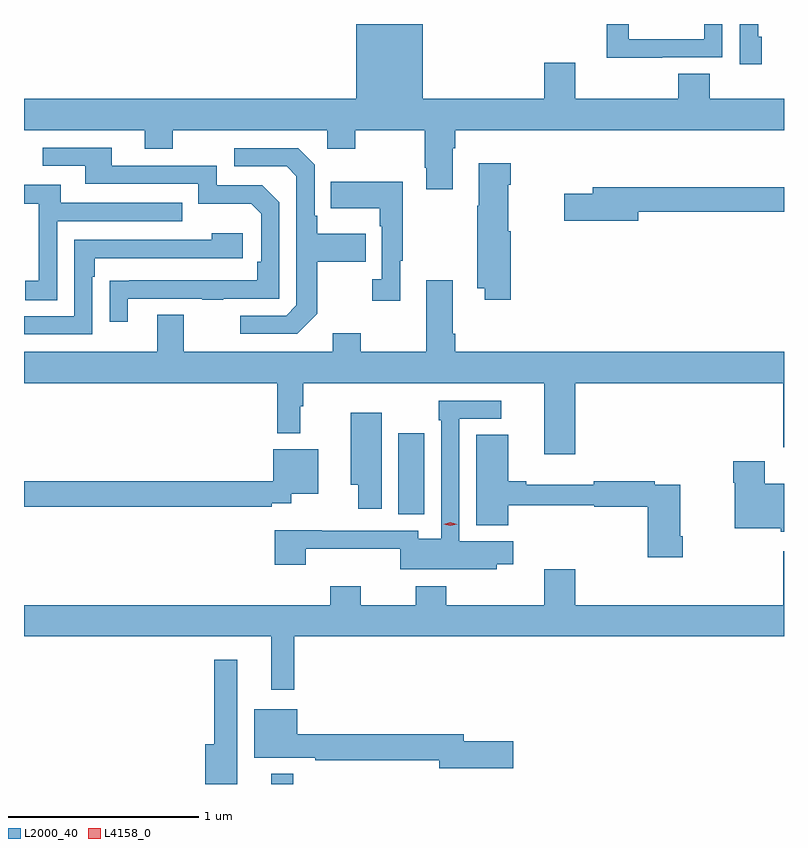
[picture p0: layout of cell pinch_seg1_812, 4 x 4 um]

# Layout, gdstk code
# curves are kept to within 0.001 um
import gdstk
lib = gdstk.Library(unit=1e-6, precision=1e-09)
def R(c, l, rs):  # rectangles x0, y0, x1, y1
    for r in rs: c.add(gdstk.rectangle(r[:2], r[2:], *l))
def P(c, l, *ps):  # polygons
    for p in ps: c.add(gdstk.Polygon(p, *l))
L2000_40 = (2000, 40)
L4158_0 = (4158, 0)

pinch_seg1_812 = lib.new_cell('pinch_seg1_812')
R(pinch_seg1_812, L2000_40, [(487.247,544.294,487.362,544.348), (487.916,545.713,488.053,546.139)])
P(pinch_seg1_812, L2000_40, [(488.203,547.64),(488.216,547.64),(488.216,547.736),(489.946,547.736),(489.946,547.9),(489.554,547.9),(489.554,548.033),(489.389,548.033),(489.389,547.9),(488.848,547.9),(488.848,548.089),(488.684,548.089),(488.684,547.9),(488.044,547.9),(488.044,548.294),(487.694,548.294),(487.694,547.9),(485.946,547.9),(485.946,547.736),(486.581,547.736),(486.581,547.637),(486.729,547.637),(486.729,547.736),(487.542,547.736),(487.542,547.637),(487.689,547.637),(487.689,547.736),(488.056,547.736),(488.056,547.537),(488.063,547.537),(488.063,547.425),(488.203,547.425)],
  [(489.305,548.118),(489.621,548.118),(489.621,548.294),(489.525,548.294),(489.525,548.214),(489.129,548.214),(489.129,548.294),(489.013,548.294),(489.013,548.117),(489.305,548.117)],
  [(489.829,548.226),(489.81,548.226),(489.81,548.294),(489.714,548.294),(489.714,548.082),(489.829,548.082)],
  [(486.493,546.849),(486.883,546.849),(486.883,546.844),(486.995,546.844),(486.995,546.849),(487.29,546.849),(487.29,547.356),(487.2,547.446),(486.96,547.446),(486.96,547.548),(486.409,547.548),(486.409,547.644),(486.045,547.644),(486.045,547.548),(486.269,547.548),(486.269,547.452),(486.864,547.452),(486.864,547.349),(487.141,547.349),(487.194,547.296),(487.194,547.042),(487.174,547.042),(487.174,546.945),(486.397,546.944),(486.397,546.726),(486.493,546.726)],
  [(487.489,546.769),(487.489,547.042),(487.745,547.042),(487.745,547.189),(487.489,547.189),(487.489,547.285),(487.476,547.285),(487.476,547.554),(487.389,547.641),(487.053,547.641),(487.053,547.545),(487.329,547.545),(487.38,547.494),(487.38,546.813),(487.326,546.759),(487.083,546.759),(487.083,546.663),(487.383,546.663)],
  [(488.507,547.202),(488.494,547.202),(488.494,547.448),(488.507,547.448),(488.507,547.561),(488.339,547.561),(488.339,547.337),(488.332,547.337),(488.332,546.902),(488.372,546.902),(488.372,546.843),(488.507,546.843)],
  [(487.927,547.049),(487.939,547.049),(487.939,547.465),(487.561,547.465),(487.561,547.325),(487.818,547.325),(487.818,547.229),(487.83,547.229),(487.83,546.95),(487.779,546.95),(487.779,546.837),(487.927,546.837)],
  [(486.12,547.257),(486.779,547.257),(486.779,547.353),(486.139,547.353),(486.139,547.447),(485.946,547.447),(485.946,547.347),(486.024,547.347),(486.024,546.942),(485.952,546.942),(485.952,546.841),(486.12,546.841)],
  [(489.178,547.306),(489.946,547.306),(489.946,547.435),(488.939,547.435),(488.939,547.401),(488.79,547.401),(488.79,547.259),(489.178,547.259)],
  [(486.306,546.965),(486.319,546.965),(486.319,547.062),(487.096,547.062),(487.096,547.192),(486.935,547.192),(486.935,547.158),(486.21,547.158),(486.21,546.756),(485.946,546.756),(485.946,546.66),(486.306,546.66)],
  [(488.848,546.404),(489.942,546.404),(489.942,546.067),(489.946,546.067),(489.946,546.568),(488.216,546.568),(488.216,546.664),(488.203,546.664),(488.203,546.946),(488.063,546.946),(488.063,546.568),(487.719,546.568),(487.719,546.667),(487.571,546.667),(487.571,546.568),(486.787,546.568),(486.787,546.763),(486.647,546.763),(486.647,546.568),(485.946,546.568),(485.946,546.404),(487.279,546.404),(487.279,546.141),(487.4,546.141),(487.4,546.281),(487.415,546.281),(487.415,546.404),(488.684,546.404),(488.684,546.03),(488.848,546.03)],
  [(488.433,545.45),(488.521,545.45),(488.521,545.572),(488.238,545.572),(488.238,546.216),(488.458,546.216),(488.458,546.312),(488.13,546.312),(488.13,546.209),(488.142,546.209),(488.142,545.584),(488.022,545.584),(488.022,545.628),(487.513,545.628),(487.513,545.63),(487.265,545.63),(487.265,545.448),(487.43,545.448),(487.43,545.531),(487.926,545.531),(487.926,545.423),(488.433,545.423)],
  [(487.828,546.247),(487.667,546.247),(487.667,545.87),(487.706,545.87),(487.706,545.742),(487.828,545.742)],
  [(489.413,545.599),(489.4,545.599),(489.4,545.868),(489.266,545.868),(489.266,545.888),(488.944,545.888),(488.944,545.869),(488.59,545.869),(488.59,545.888),(488.494,545.888),(488.494,546.131),(488.327,546.131),(488.327,545.657),(488.494,545.657),(488.494,545.76),(488.946,545.76),(488.946,545.752),(489.23,545.752),(489.23,545.487),(489.413,545.487)],
  [(487.25,545.771),(487.353,545.771),(487.353,545.822),(487.495,545.822),(487.495,546.055),(487.257,546.055),(487.257,545.888),(485.946,545.888),(485.946,545.752),(487.25,545.752)],
  [(489.946,545.875),(489.844,545.875),(489.844,545.992),(489.679,545.992),(489.679,545.879),(489.686,545.879),(489.686,545.639),(489.93,545.639),(489.93,545.621),(489.946,545.621)],
  [(487.369,545.072),(489.946,545.072),(489.946,545.518),(489.942,545.518),(489.942,545.236),(488.848,545.236),(488.848,545.425),(488.684,545.425),(488.684,545.236),(488.168,545.236),(488.168,545.335),(488.008,545.335),(488.008,545.236),(487.719,545.236),(487.719,545.335),(487.559,545.335),(487.559,545.236),(485.946,545.236),(485.946,545.072),(487.247,545.072),(487.247,544.791),(487.369,544.791)],
  [(487.069,544.948),(486.948,544.948),(486.948,544.504),(486.899,544.504),(486.899,544.294),(487.069,544.294)],
  [(488.521,544.52),(488.26,544.52),(488.26,544.556),(487.384,544.556),(487.384,544.687),(487.157,544.687),(487.157,544.433),(487.48,544.433),(487.48,544.42),(488.132,544.42),(488.132,544.378),(488.521,544.378)])
P(pinch_seg1_812, L4158_0, [(488.19,545.652),(488.155,545.662),(488.155,545.662),(488.155,545.662),(488.19,545.672),(488.225,545.662),(488.225,545.662),(488.225,545.662)])

lib.write_gds('pinch_seg1_812.gds')
